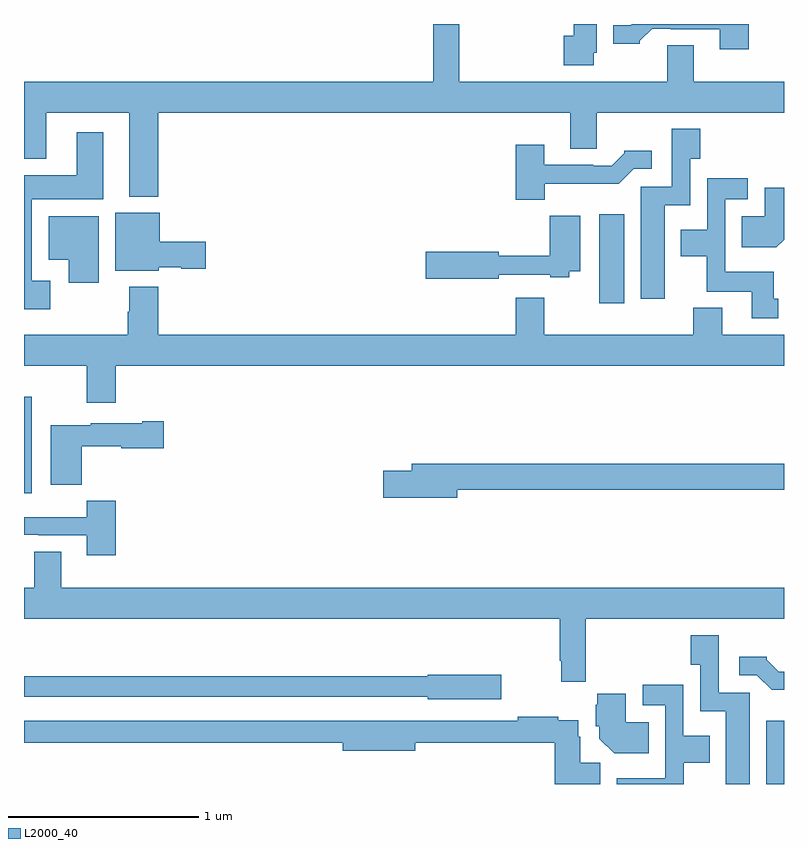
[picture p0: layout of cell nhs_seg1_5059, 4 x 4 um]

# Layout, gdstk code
import gdstk
lib = gdstk.Library(unit=1e-6, precision=1e-09)
def R(c, l, rs):  # rectangles x0, y0, x1, y1
    for r in rs: c.add(gdstk.rectangle(r[:2], r[2:], *l))
def P(c, l, *ps):  # polygons
    for p in ps: c.add(gdstk.Polygon(p, *l))
L2000_40 = (2000, 40)

nhs_seg1_5059 = lib.new_cell('nhs_seg1_5059')
R(nhs_seg1_5059, L2000_40, [(388.907,548.199,389,548.533), (385,549.729,385.042,550.237), (388.028,550.728,388.159,551.197)])
P(nhs_seg1_5059, L2000_40, [(385.706,551.732),(387.875,551.732),(387.875,551.542),(388.015,551.542),(388.015,551.732),(389,551.732),(389,551.896),(388.525,551.896),(388.525,552.086),(388.385,552.086),(388.385,551.896),(387.29,551.896),(387.29,552.199),(387.154,552.199),(387.154,551.896),(385,551.896),(385,551.489),(385.117,551.489),(385.117,551.732),(385.553,551.732),(385.553,551.291),(385.706,551.291)],
  [(388.814,552.199),(388.198,552.199),(388.191,552.192),(388.1,552.192),(388.1,552.095),(388.242,552.095),(388.242,552.11),(388.306,552.174),(388.405,552.174),(388.405,552.171),(388.661,552.171),(388.661,552.066),(388.814,552.066)],
  [(387.999,552.048),(388.015,552.048),(388.015,552.199),(387.893,552.199),(387.893,552.138),(387.842,552.138),(387.842,551.982),(387.999,551.982)],
  [(388.372,551.246),(388.506,551.246),(388.506,551.491),(388.559,551.491),(388.559,551.647),(388.41,551.647),(388.41,551.343),(388.247,551.343),(388.247,550.752),(388.372,550.752)],
  [(385.138,550.849),(385.042,550.849),(385.042,551.276),(385.417,551.276),(385.417,551.629),(385.277,551.629),(385.277,551.404),(385,551.404),(385,550.697),(385.138,550.697)],
  [(387.742,551.358),(388.131,551.358),(388.209,551.436),(388.303,551.436),(388.303,551.533),(388.158,551.533),(388.158,551.518),(388.094,551.454),(387.995,551.454),(387.995,551.457),(387.739,551.457),(387.739,551.563),(387.587,551.563),(387.587,551.273),(387.742,551.273)],
  [(388.969,550.752),(388.945,550.752),(388.945,550.894),(388.692,550.894),(388.692,551.277),(388.81,551.277),(388.81,551.386),(388.596,551.386),(388.596,551.116),(388.457,551.116),(388.457,550.976),(388.594,550.976),(388.594,550.79),(388.829,550.79),(388.829,550.65),(388.969,550.65)],
  [(389,551.064),(389,551.338),(388.898,551.338),(388.898,551.188),(388.777,551.188),(388.777,551.024),(388.96,551.024)],
  [(385.71,550.919),(385.827,550.919),(385.827,550.912),(385.957,550.912),(385.957,551.054),(385.714,551.054),(385.714,551.206),(385.481,551.206),(385.481,550.901),(385.71,550.901)],
  [(387.498,550.878),(387.77,550.878),(387.77,550.866),(387.87,550.866),(387.87,550.898),(387.928,550.898),(387.928,551.191),(387.766,551.191),(387.766,550.979),(387.498,550.979),(387.498,551),(387.114,551),(387.114,550.858),(387.498,550.858)],
  [(385.393,551.188),(385.13,551.188),(385.13,550.958),(385.235,550.958),(385.235,550.836),(385.393,550.836)],
  [(385.484,550.4),(389,550.4),(389,550.564),(388.675,550.564),(388.675,550.705),(388.523,550.705),(388.523,550.564),(387.739,550.564),(387.739,550.759),(387.587,550.759),(387.587,550.564),(385.706,550.564),(385.706,550.816),(385.553,550.816),(385.553,550.685),(385.546,550.685),(385.546,550.564),(385,550.564),(385,550.4),(385.331,550.4),(385.331,550.206),(385.484,550.206)],
  [(385.304,549.977),(385.512,549.977),(385.512,549.965),(385.735,549.965),(385.735,550.107),(385.622,550.107),(385.622,550.099),(385.35,550.099),(385.35,550.087),(385.142,550.087),(385.142,549.773),(385.304,549.773)],
  [(387.28,549.748),(389,549.748),(389,549.884),(387.041,549.884),(387.041,549.848),(386.892,549.848),(386.892,549.706),(387.28,549.706)],
  [(385.484,549.691),(385.329,549.691),(385.329,549.604),(385,549.604),(385,549.51),(385.075,549.51),(385.075,549.507),(385.331,549.507),(385.331,549.402),(385.484,549.402)],
  [(387.956,549.068),(389,549.068),(389,549.232),(385.195,549.232),(385.195,549.422),(385.055,549.422),(385.055,549.232),(385,549.232),(385,549.068),(387.82,549.068),(387.82,548.848),(387.828,548.848),(387.828,548.736),(387.956,548.736)],
  [(388.819,548.679),(388.656,548.679),(388.656,548.983),(388.508,548.983),(388.508,548.827),(388.56,548.827),(388.56,548.582),(388.694,548.582),(388.694,548.199),(388.819,548.199)],
  [(389,548.79),(388.972,548.79),(388.908,548.854),(388.908,548.869),(388.764,548.869),(388.764,548.772),(388.857,548.772),(388.936,548.694),(389,548.694)],
  [(387.511,548.775),(387.126,548.775),(387.126,548.767),(385,548.767),(385,548.658),(387.126,548.658),(387.126,548.645),(387.511,548.645)],
  [(388.473,548.312),(388.609,548.312),(388.609,548.452),(388.47,548.452),(388.47,548.722),(388.257,548.722),(388.257,548.613),(388.374,548.613),(388.374,548.23),(388.121,548.23),(388.121,548.199),(388.473,548.199)],
  [(388.289,548.524),(388.168,548.524),(388.168,548.674),(388.016,548.674),(388.016,548.616),(388.01,548.616),(388.01,548.502),(388.028,548.502),(388.028,548.438),(388.106,548.36),(388.289,548.36)],
  [(388.033,548.312),(387.928,548.312),(387.928,548.448),(387.916,548.448),(387.916,548.534),(387.812,548.534),(387.812,548.552),(387.598,548.552),(387.598,548.532),(385,548.532),(385,548.416),(386.678,548.416),(386.678,548.374),(387.058,548.374),(387.058,548.416),(387.794,548.416),(387.794,548.199),(388.033,548.199)])

lib.write_gds('nhs_seg1_5059.gds')
